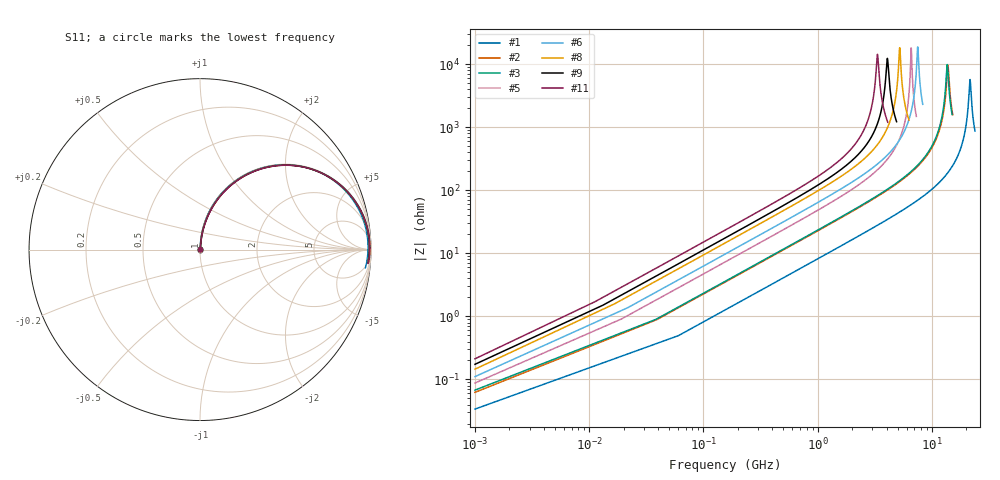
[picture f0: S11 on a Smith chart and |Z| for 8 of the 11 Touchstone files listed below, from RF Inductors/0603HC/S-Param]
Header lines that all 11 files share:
! 03 June 2002
# MHZ S MA R 50
!Freq  MagS11  AngS11  MagS21  AngS21  MagS12  AngS12  MagS22  AngS22
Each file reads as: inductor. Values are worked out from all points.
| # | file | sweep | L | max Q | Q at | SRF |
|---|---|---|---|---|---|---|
| 1 | 06HC1N6.S2P | 1 MHz to 23.8 GHz | 1.3 nH | 161 | 5.995 GHz | 21.55 GHz |
| 2 | 06HC3N6.S2P | 1 MHz to 15.2 GHz | 3.6 nH | 110 | 4.094 GHz | 13.76 GHz |
| 3 | 06HC3N9.S2P | 1 MHz to 15 GHz | 3.7 nH | 117 | 4.04 GHz | 13.58 GHz |
| 4 | 06HC6N8.S2P | 1 MHz to 9.4 GHz | 6.8 nH | 129 | 2.978 GHz | 8.463 GHz |
| 5 | 06HC7N5.S2P | 1 MHz to 7.3 GHz | 7.5 nH | 115 | 2.312 GHz | 6.571 GHz |
| 6 | 06HC10N.S2P | 1 MHz to 8.3 GHz | 10 nH | 116 | 2.361 GHz | 7.494 GHz |
| 7 | 06HC12N.S2P | 1 MHz to 6.3 GHz | 12 nH | 95.3 | 1.635 GHz | 5.17 GHz |
| 8 | 06HC15N.S2P | 1 MHz to 6.3 GHz | 15 nH | 97.1 | 1.682 GHz | 5.217 GHz |
| 9 | 06HC18N.S2P | 1 MHz to 4.9 GHz | 18 nH | 92.2 | 1.235 GHz | 4.07 GHz |
| 10 | 06HC22N.S2P | 1 MHz to 5.2 GHz | 22 nH | 103 | 1.337 GHz | 4.307 GHz |
| 11 | 06HC24N.S2P | 1 MHz to 4.1 GHz | 24 nH | 84.3 | 1.043 GHz | 3.333 GHz |
